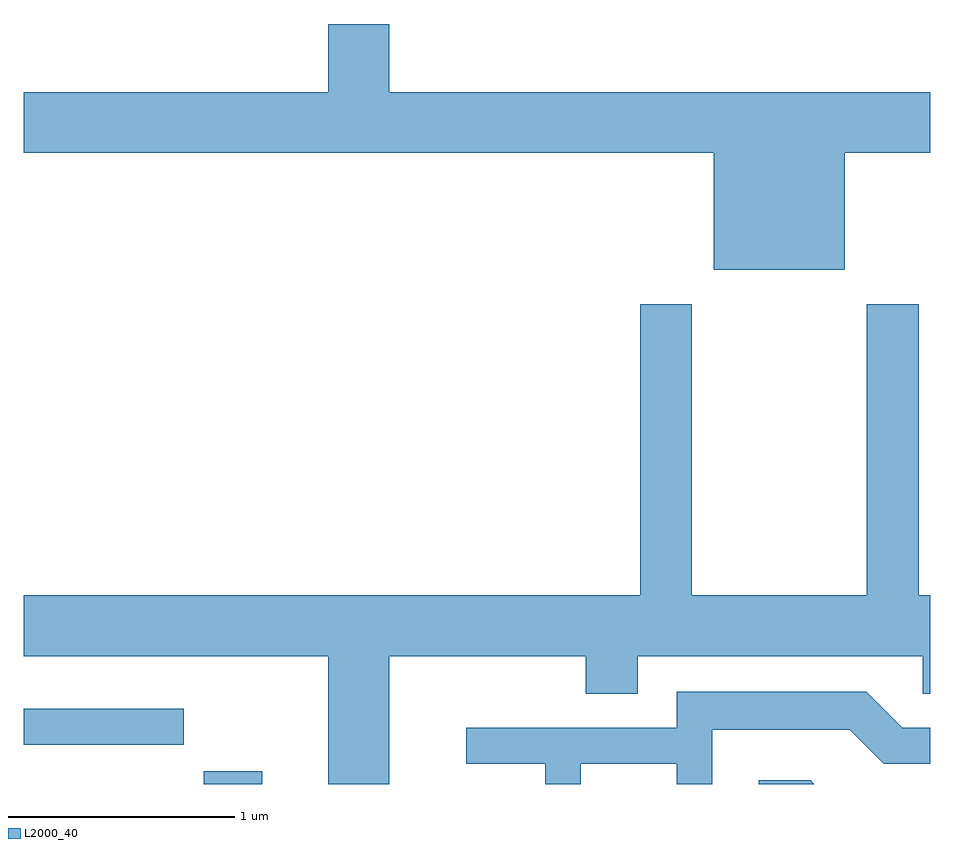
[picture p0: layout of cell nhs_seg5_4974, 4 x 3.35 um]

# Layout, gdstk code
import gdstk
lib = gdstk.Library(unit=1e-6, precision=1e-09)
def R(c, l, rs):  # rectangles x0, y0, x1, y1
    for r in rs: c.add(gdstk.rectangle(r[:2], r[2:], *l))
def P(c, l, *ps):  # polygons
    for p in ps: c.add(gdstk.Polygon(p, *l))
L2000_40 = (2000, 40)

nhs_seg5_4974 = lib.new_cell('nhs_seg5_4974')
R(nhs_seg5_4974, L2000_40, [(334.406,1394.072,334.664,1394.129), (333.611,1394.246,334.318,1394.404)])
P(nhs_seg5_4974, L2000_40, [(337.234,1396.856),(337.611,1396.856),(337.611,1397.124),(335.224,1397.124),(335.224,1397.424),(334.956,1397.424),(334.956,1397.124),(333.611,1397.124),(333.611,1396.856),(336.656,1396.856),(336.656,1396.341),(337.234,1396.341)],
  [(335.224,1394.636),(336.091,1394.636),(336.091,1394.471),(336.319,1394.471),(336.319,1394.636),(337.576,1394.636),(337.576,1394.471),(337.611,1394.471),(337.611,1394.904),(337.559,1394.904),(337.559,1396.189),(337.331,1396.189),(337.331,1394.904),(336.559,1394.904),(336.559,1396.189),(336.331,1396.189),(336.331,1394.904),(333.611,1394.904),(333.611,1394.636),(334.956,1394.636),(334.956,1394.072),(335.224,1394.072)],
  [(336.069,1394.161),(336.491,1394.161),(336.491,1394.072),(336.649,1394.072),(336.649,1394.311),(337.254,1394.311),(337.404,1394.161),(337.611,1394.161),(337.611,1394.319),(337.487,1394.319),(337.327,1394.479),(336.491,1394.479),(336.491,1394.319),(335.563,1394.319),(335.563,1394.161),(335.911,1394.161),(335.911,1394.072),(336.069,1394.072)],
  [(337.082,1394.089),(336.853,1394.089),(336.853,1394.072),(337.099,1394.072)])

lib.write_gds('nhs_seg5_4974.gds')
